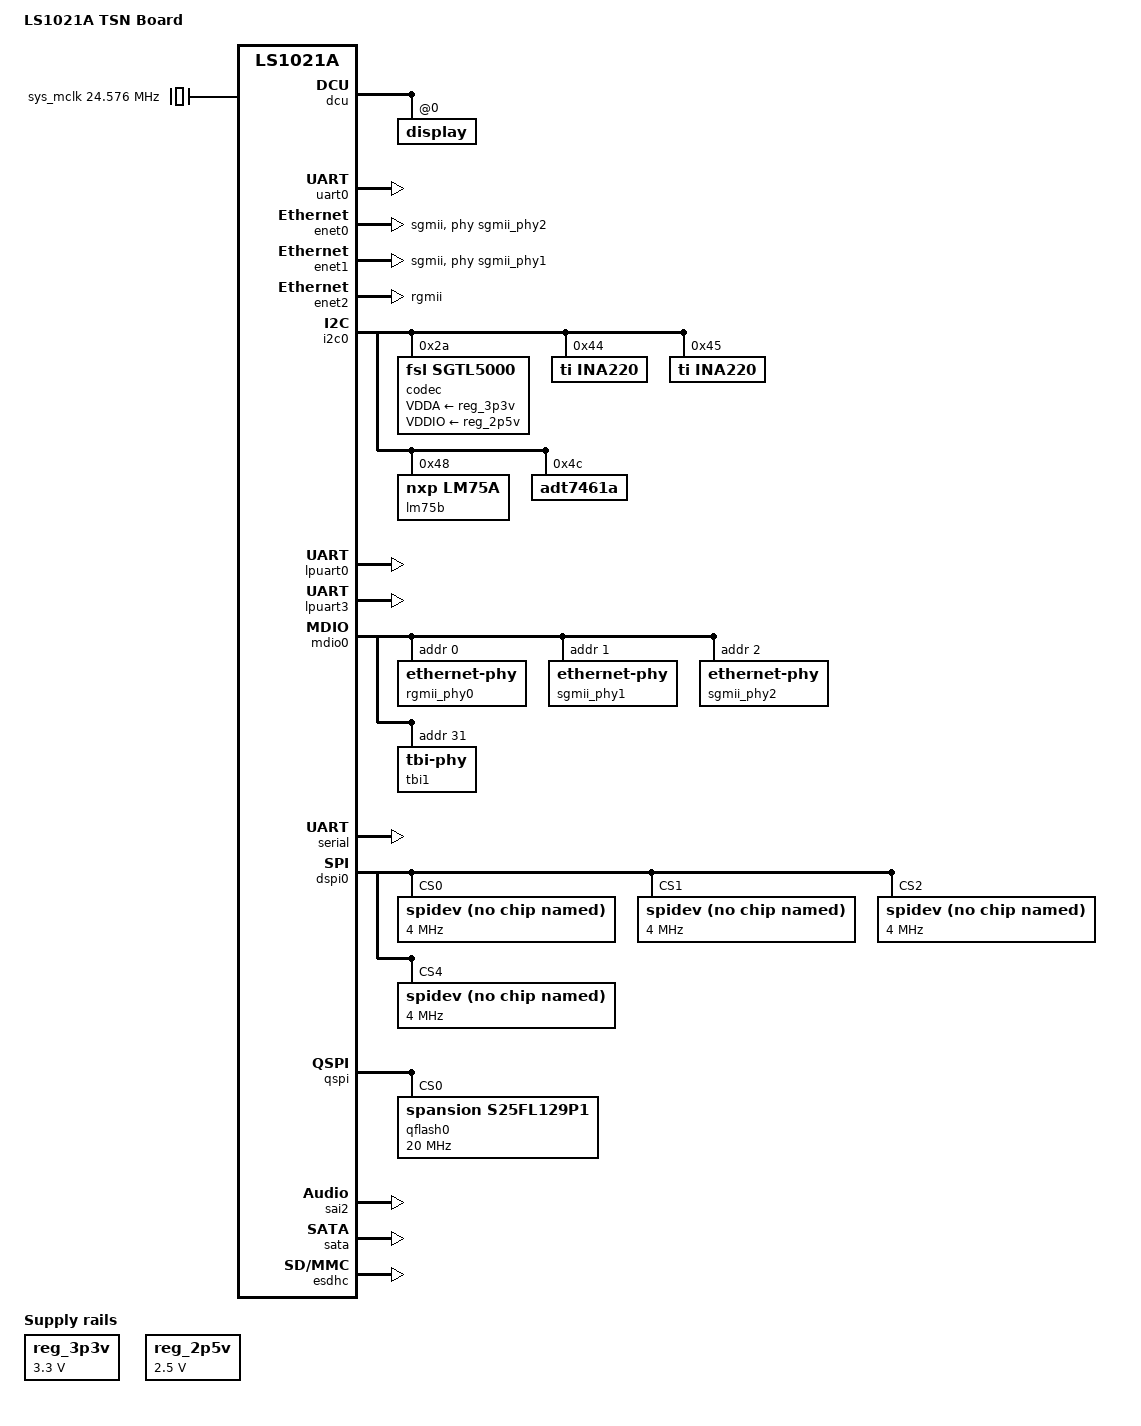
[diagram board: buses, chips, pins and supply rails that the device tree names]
/*
 * Copyright 2013-2014 Freescale Semiconductor, Inc.
 * Copyright 2018 NXP
 *
 * SPDX-License-Identifier: GPL-2.0+
 *
 */

/dts-v1/;
#include "ls1021a.dtsi"

/ {
	model = "LS1021A TSN Board";

	sys_mclk: clock-mclk {
		compatible = "fixed-clock";
		#clock-cells = <0>;
		clock-frequency = <24576000>;
	};

	regulators {
		compatible = "simple-bus";
		#address-cells = <1>;
		#size-cells = <0>;

		reg_3p3v: regulator@0 {
			compatible = "regulator-fixed";
			reg = <0>;
			regulator-name = "3P3V";
			regulator-min-microvolt = <3300000>;
			regulator-max-microvolt = <3300000>;
			regulator-always-on;
		};

		reg_2p5v: regulator@1 {
			compatible = "regulator-fixed";
			reg = <1>;
			regulator-name = "2P5V";
			regulator-min-microvolt = <2500000>;
			regulator-max-microvolt = <2500000>;
			regulator-always-on;
		};
	};

	sound {
		compatible = "simple-audio-card";
		simple-audio-card,format = "i2s";
		simple-audio-card,widgets =
			"Microphone", "Microphone Jack",
			"Headphone", "Headphone Jack",
			"Speaker", "Speaker Ext",
			"Line", "Line In Jack";
		simple-audio-card,routing =
			"MIC_IN", "Microphone Jack",
			"Microphone Jack", "Mic Bias",
			"LINE_IN", "Line In Jack",
			"Headphone Jack", "HP_OUT",
			"Speaker Ext", "LINE_OUT";

		simple-audio-card,cpu {
			sound-dai = <&sai2>;
			frame-master;
			bitclock-master;
		};

		simple-audio-card,codec {
			sound-dai = <&codec>;
			frame-master;
			bitclock-master;
		};
	};
	firmware {
		optee {
			compatible = "linaro,optee-tz";
			method = "smc";
			};
		};
};

&dcu {
	display = <&display>;
	status = "okay";

	display: display@0 {
		bits-per-pixel = <24>;

		display-timings {
			native-mode = <&timing0>;

			timing0: mode0 {
				clock-frequency = <25000000>;
				hactive = <640>;
				vactive = <480>;
				hback-porch = <80>;
				hfront-porch = <80>;
				vback-porch = <16>;
				vfront-porch = <16>;
				hsync-len = <12>;
				vsync-len = <2>;
				hsync-active = <1>;
				vsync-active = <1>;
			};
		};
	};
};

&uart0 {
	status = "okay";
};

&enet0 {
	tbi-handle = <&tbi1>;
	phy-handle = <&sgmii_phy2>;
	phy-connection-type = "sgmii";
	status = "ok";
};

&enet1 {
	tbi-handle = <&tbi1>;
	phy-handle = <&sgmii_phy1>;
	phy-connection-type = "sgmii";
	status = "ok";
};

&enet2 {
	fixed-link = <0 1 1000 0 0>;
	phy-connection-type = "rgmii";
	status = "ok";
};

&i2c0 {
	status = "okay";

	codec: sgtl5000@2a {
		#sound-dai-cells = <0>;
		compatible = "fsl,sgtl5000";
		reg = <0x2a>;
		VDDA-supply = <&reg_3p3v>;
		VDDIO-supply = <&reg_2p5v>;
		clocks = <&sys_mclk 1>;
	};

	ina220@44 {
		compatible = "ti,ina220";
		reg = <0x44>;
		shunt-resistor = <1000>;
	};
	ina220@45 {
		compatible = "ti,ina220";
		reg = <0x45>;
		shunt-resistor = <1000>;
	};
	lm75b@48 {
                compatible = "nxp,lm75a";
                reg = <0x48>;
        };
	adt7461a@4c {
		compatible = "adt7461a";
		reg = <0x4c>;
	};

};

&i2c1 {
	status = "disabled";
};

&ifc {
	status = "disabled";
};

&lpuart0 {
	status = "okay";
};
&lpuart3 {
	status = "okay";
};

&mdio0 {
	rgmii_phy0: ethernet-phy@0 {
		reg = <0x0>;
	};
	sgmii_phy1: ethernet-phy@1 {
		reg = <0x1>;
	};
	sgmii_phy2: ethernet-phy@2 {
		reg = <0x2>;
	};
	tbi1: tbi-phy@1f {
		reg = <0x1f>;
		device_type = "tbi-phy";
	};
};

&uqe {
	ranges = <0x0 0x0 0x2400000 0x40000>;
	reg = <0x0 0x2400000 0x0 0x480>;
	brg-frequency = <100000000>;
	bus-frequency = <200000000>;

	si1: si@700 {
		#address-cells = <1>;
		#size-cells = <0>;
		compatible = "fsl,qe-si";
		reg = <0x700 0x80>;
	};

	siram1: siram@1000 {
		#address-cells = <1>;
		#size-cells = <1>;
		compatible = "fsl,qe-siram";
		reg = <0x1000 0x800>;
	};

	serial: ucc@2000 {
		device_type = "serial";
		compatible = "ucc_uart";
		port-number = <0>;
		rx-clock-name = "brg1";
		tx-clock-name = "brg1";
	};

	ucc_hdlc: ucc@2200 {
		compatible = "fsl,ucc_hdlc";
		rx-clock-name = "brg2";
		tx-clock-name = "brg2";
		fsl,rx-sync-clock = "none";
		fsl,tx-sync-clock = "none";
		fsl,tx-timeslot = <0xfffffffe>;
		fsl,rx-timeslot = <0xfffffffe>;
		fsl,tdm-framer-type = "e1";
		fsl,tdm-mode = "normal";
		fsl,tdm-id = <1>;
		fsl,siram-entry-id = <2>;
		fsl,inter-loopback;
	};
};

&dspi0 {
	bus-num = <0>;
	status = "okay";
	num-cs = <3>;
	is-decoded-cs = <0>;
	spidev@0 {
		compatible = "rohm,dh2228fv";
		reg = <0x0>;
		spi-max-frequency = <4000000>;
		#address-cells = <1>;
		#size-cells = <1>;
	};
	spidev@1 {
		compatible = "rohm,dh2228fv";
		reg = <0x1>;
		spi-max-frequency = <4000000>;
		#address-cells = <1>;
		#size-cells = <1>;
		fsl,spi-cs-sck-delay = <1000>;
		fsl,spi-sck-cs-delay = <1000>;
	};
	spidev@2 {
		compatible = "rohm,dh2228fv";
		reg = <0x2>;
		spi-max-frequency = <4000000>;
		#address-cells = <1>;
		#size-cells = <1>;
	};
	spidev@4 {
		compatible = "rohm,dh2228fv";
		reg = <0x4>;
		spi-max-frequency = <4000000>;
		#address-cells = <1>;
		#size-cells = <1>;
	};
};

&qspi {
	num-cs = <2>;
	status = "okay";

	qflash0: s25fl128s@0 {
		compatible = "spansion,s25fl129p1";
		#address-cells = <1>;
		#size-cells = <1>;
		spi-max-frequency = <20000000>;
		reg = <0>;
	};
};

&sai2 {
	status = "okay";
};

&sata {
	status = "okay";
};

&esdhc {
	status = "okay";
};
